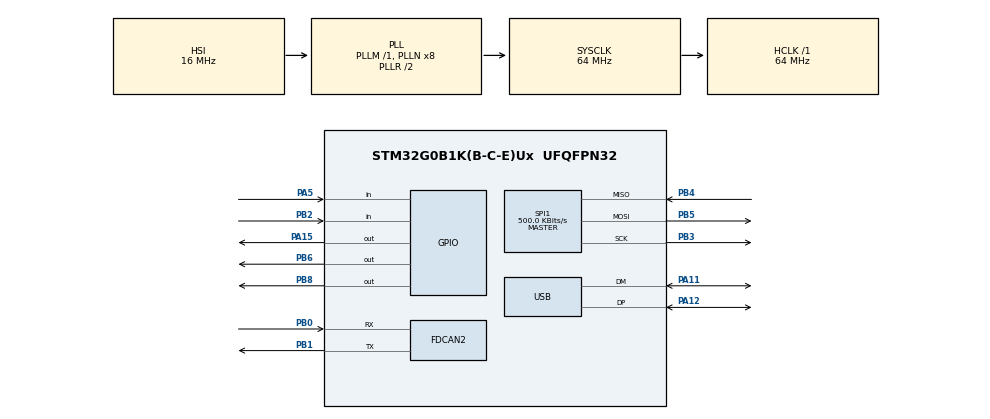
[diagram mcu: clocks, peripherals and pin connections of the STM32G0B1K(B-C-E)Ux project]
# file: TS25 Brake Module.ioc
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FDCAN2.AutoRetransmission=ENABLE
FDCAN2.CalculateBaudRateNominal=500000
FDCAN2.CalculateTimeBitNominal=2000
FDCAN2.CalculateTimeQuantumNominal=125.0
FDCAN2.NominalPrescaler=4
FDCAN2.NominalTimeSeg1=11
FDCAN2.NominalTimeSeg2=4
Mcu.Family=STM32G0
Mcu.Name=STM32G0B1K(B-C-E)Ux
Mcu.Package=UFQFPN32
NVIC.TIM2_IRQn=true\:0\:0\:false\:false\:true\:true\:true\:true
NVIC.USB_UCPD1_2_IRQn=true\:0\:0\:false\:false\:true\:true\:true\:true
PA11\ [PA9].Mode=Device
PA11\ [PA9].Signal=USB_DM
PA12\ [PA10].Mode=Device
PA12\ [PA10].Signal=USB_DP
PA13.Mode=Serial_Wire
PA13.Signal=SYS_SWDIO
PA14-BOOT0.Mode=Serial_Wire
PA14-BOOT0.Signal=SYS_SWCLK
PA15.Signal=GPIO_Output
PA5.Signal=GPIO_Input
PB0.Mode=FDCAN_Activate
PB0.Signal=FDCAN2_RX
PB1.Mode=FDCAN_Activate
PB1.Signal=FDCAN2_TX
PB2.Signal=GPIO_Input
PB3.GPIO_PuPd=GPIO_NOPULL
PB3.GPIO_Speed=GPIO_SPEED_FREQ_HIGH
PB3.Mode=Full_Duplex_Master
PB3.Signal=SPI1_SCK
PB4.GPIO_PuPd=GPIO_PULLDOWN
PB4.Mode=Full_Duplex_Master
PB4.Signal=SPI1_MISO
PB5.GPIO_Speed=GPIO_SPEED_FREQ_HIGH
PB5.Mode=Full_Duplex_Master
PB5.Signal=SPI1_MOSI
PB6.Signal=GPIO_Output
PB8.Signal=GPIO_Output
ProjectManager.HeapSize=0x300
ProjectManager.StackSize=0x500
ProjectManager.TargetToolchain=STM32CubeIDE
RCC.ADCFreq_Value=64000000
RCC.AHBFreq_Value=64000000
RCC.APB1CLKDivider=RCC_HCLK_DIV2
RCC.CortexFreq_Value=64000000
RCC.EXTERNAL_CLOCK_VALUE=48000
RCC.HCLKFreq_Value=64000000
RCC.HSE_VALUE=8000000
RCC.HSI48_VALUE=48000000
RCC.HSI_VALUE=16000000
RCC.LSE_VALUE=32768
RCC.SYSCLKFreq_VALUE=64000000
RCC.SYSCLKSource=RCC_SYSCLKSOURCE_PLLCLK
RCC.USBFreq_Value=48000000
RCC.VCOOutputFreq_Value=128000000
SPI1.BaudRatePrescaler=SPI_BAUDRATEPRESCALER_64
SPI1.CalculateBaudRate=500.0 KBits/s
SPI1.DataSize=SPI_DATASIZE_8BIT
SPI1.Direction=SPI_DIRECTION_2LINES
SPI1.Mode=SPI_MODE_MASTER
SPI1.NSSPMode=SPI_NSS_PULSE_DISABLE
SPI1.VirtualType=VM_MASTER
TIM2.Period=63999
VP_SYS_VS_DBSignals.Mode=DisableDeadBatterySignals
VP_TIM2_VS_ClockSourceINT.Mode=Internal
board=custom

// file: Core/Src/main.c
/* USER CODE BEGIN Header */
/**
  ******************************************************************************
  * @file           : main.c
  * @brief          : Main program body
  ******************************************************************************
  * @attention
  *
  * Copyright (c) 2025 STMicroelectronics.
  * All rights reserved.
  *
  * This software is licensed under terms that can be found in the LICENSE file
  * in the root directory of this software component.
  * If no LICENSE file comes with this software, it is provided AS-IS.
  *
  ******************************************************************************
  */
/* USER CODE END Header */
#include "main.h"

/* USER CODE BEGIN Includes */
#include "brake_module.h"
/* USER CODE END Includes */

FDCAN_HandleTypeDef hfdcan2;

SPI_HandleTypeDef hspi1;

TIM_HandleTypeDef htim2;

PCD_HandleTypeDef hpcd_USB_DRD_FS;

void SystemClock_Config(void);
static void MX_GPIO_Init(void);
static void MX_FDCAN2_Init(void);
static void MX_SPI1_Init(void);
static void MX_TIM2_Init(void);
static void MX_USB_DRD_FS_PCD_Init(void);

int main(void)
{

  /* MCU Configuration--------------------------------------------------------*/

  /* Reset of all peripherals, Initializes the Flash interface and the Systick. */
  HAL_Init();

  /* Configure the system clock */
  SystemClock_Config();

  /* USER CODE BEGIN SysInit */
  HAL_FDCAN_MspInit(&hfdcan2);
  HAL_SPI_MspInit(&hspi1);
  /* USER CODE END SysInit */

  /* Initialize all configured peripherals */
  MX_GPIO_Init();
  MX_FDCAN2_Init();
  MX_SPI1_Init();
  MX_TIM2_Init();
  MX_USB_DRD_FS_PCD_Init();
  /* USER CODE BEGIN 2 */
  canFramesDefine();
  ioAssign();
  initialiseADC();
  HAL_GPIO_WritePin(GPIOB, GPIO_PIN_6, GPIO_PIN_RESET); //LED on (default)

  TickerAttach(&Ticker, &TransmitHeartBeat, BRAKE_MODULE_HEARTBEAT_CAN_RATE);
  TickerAttach(&Ticker, &TransmitDigital, BRAKE_MODULE_DIGITAL_CAN_RATE);
  TickerAttach(&Ticker, &TransmitDigitalRaw, BRAKE_MODULE_ANALOGUE_CAN_RATE);
  TickerAttach(&Ticker, &TransmitAnalogue, BRAKE_MODULE_ANALOGUE_CAN_RATE);

  HAL_FDCAN_Start(&hfdcan2);

  HAL_TIM_Base_Start_IT(&htim2);
  /* USER CODE END 2 */

  /* Infinite loop */
  /* USER CODE BEGIN WHILE */
  while (1)
  {
	UpdateDigital();
	UpdateDigitalRaw();
	UpdateAnalogue();
	//TransmitCAN();
    /* USER CODE END WHILE */

  }
}

void SystemClock_Config(void)
{
  RCC_OscInitTypeDef RCC_OscInitStruct = {0};
  RCC_ClkInitTypeDef RCC_ClkInitStruct = {0};

  /** Configure the main internal regulator output voltage
  */
  HAL_PWREx_ControlVoltageScaling(PWR_REGULATOR_VOLTAGE_SCALE1);

  /** Initializes the RCC Oscillators according to the specified parameters
  * in the RCC_OscInitTypeDef structure.
  */
  RCC_OscInitStruct.OscillatorType = RCC_OSCILLATORTYPE_HSI|RCC_OSCILLATORTYPE_HSI48;
  RCC_OscInitStruct.HSIState = RCC_HSI_ON;
  RCC_OscInitStruct.HSI48State = RCC_HSI48_ON;
  RCC_OscInitStruct.HSIDiv = RCC_HSI_DIV1;
  RCC_OscInitStruct.HSICalibrationValue = RCC_HSICALIBRATION_DEFAULT;
  RCC_OscInitStruct.PLL.PLLState = RCC_PLL_ON;
  RCC_OscInitStruct.PLL.PLLSource = RCC_PLLSOURCE_HSI;
  RCC_OscInitStruct.PLL.PLLM = RCC_PLLM_DIV1;
  RCC_OscInitStruct.PLL.PLLN = 8;
  RCC_OscInitStruct.PLL.PLLP = RCC_PLLP_DIV2;
  RCC_OscInitStruct.PLL.PLLQ = RCC_PLLQ_DIV2;
  RCC_OscInitStruct.PLL.PLLR = RCC_PLLR_DIV2;
  if (HAL_RCC_OscConfig(&RCC_OscInitStruct) != HAL_OK)
  {
    Error_Handler();
  }

  /** Initializes the CPU, AHB and APB buses clocks
  */
  RCC_ClkInitStruct.ClockType = RCC_CLOCKTYPE_HCLK|RCC_CLOCKTYPE_SYSCLK
                              |RCC_CLOCKTYPE_PCLK1;
  RCC_ClkInitStruct.SYSCLKSource = RCC_SYSCLKSOURCE_PLLCLK;
  RCC_ClkInitStruct.AHBCLKDivider = RCC_SYSCLK_DIV1;
  RCC_ClkInitStruct.APB1CLKDivider = RCC_HCLK_DIV2;

  if (HAL_RCC_ClockConfig(&RCC_ClkInitStruct, FLASH_LATENCY_2) != HAL_OK)
  {
    Error_Handler();
  }
}

static void MX_FDCAN2_Init(void)
{

  hfdcan2.Instance = FDCAN2;
  hfdcan2.Init.ClockDivider = FDCAN_CLOCK_DIV1;
  hfdcan2.Init.FrameFormat = FDCAN_FRAME_CLASSIC;
  hfdcan2.Init.Mode = FDCAN_MODE_NORMAL;
  hfdcan2.Init.AutoRetransmission = ENABLE;
  hfdcan2.Init.TransmitPause = DISABLE;
  hfdcan2.Init.ProtocolException = DISABLE;
  hfdcan2.Init.NominalPrescaler = 4;
  hfdcan2.Init.NominalSyncJumpWidth = 1;
  hfdcan2.Init.NominalTimeSeg1 = 11;
  hfdcan2.Init.NominalTimeSeg2 = 4;
  hfdcan2.Init.DataPrescaler = 1;
  hfdcan2.Init.DataSyncJumpWidth = 1;
  hfdcan2.Init.DataTimeSeg1 = 1;
  hfdcan2.Init.DataTimeSeg2 = 1;
  hfdcan2.Init.StdFiltersNbr = 0;
  hfdcan2.Init.ExtFiltersNbr = 0;
  hfdcan2.Init.TxFifoQueueMode = FDCAN_TX_FIFO_OPERATION;
  if (HAL_FDCAN_Init(&hfdcan2) != HAL_OK)
  {
    Error_Handler();
  }

}

static void MX_SPI1_Init(void)
{

  /* SPI1 parameter configuration*/
  hspi1.Instance = SPI1;
  hspi1.Init.Mode = SPI_MODE_MASTER;
  hspi1.Init.Direction = SPI_DIRECTION_2LINES;
  hspi1.Init.DataSize = SPI_DATASIZE_8BIT;
  hspi1.Init.CLKPolarity = SPI_POLARITY_LOW;
  hspi1.Init.CLKPhase = SPI_PHASE_1EDGE;
  hspi1.Init.NSS = SPI_NSS_SOFT;
  hspi1.Init.BaudRatePrescaler = SPI_BAUDRATEPRESCALER_64;
  hspi1.Init.FirstBit = SPI_FIRSTBIT_MSB;
  hspi1.Init.TIMode = SPI_TIMODE_DISABLE;
  hspi1.Init.CRCCalculation = SPI_CRCCALCULATION_DISABLE;
  hspi1.Init.CRCPolynomial = 7;
  hspi1.Init.CRCLength = SPI_CRC_LENGTH_DATASIZE;
  hspi1.Init.NSSPMode = SPI_NSS_PULSE_DISABLE;
  if (HAL_SPI_Init(&hspi1) != HAL_OK)
  {
    Error_Handler();
  }

}

static void MX_TIM2_Init(void)
{

  TIM_ClockConfigTypeDef sClockSourceConfig = {0};
  TIM_MasterConfigTypeDef sMasterConfig = {0};

  htim2.Instance = TIM2;
  htim2.Init.Prescaler = 0;
  htim2.Init.CounterMode = TIM_COUNTERMODE_UP;
  htim2.Init.Period = 63999;
  htim2.Init.ClockDivision = TIM_CLOCKDIVISION_DIV1;
  htim2.Init.AutoReloadPreload = TIM_AUTORELOAD_PRELOAD_DISABLE;
  if (HAL_TIM_Base_Init(&htim2) != HAL_OK)
  {
    Error_Handler();
  }
  sClockSourceConfig.ClockSource = TIM_CLOCKSOURCE_INTERNAL;
  if (HAL_TIM_ConfigClockSource(&htim2, &sClockSourceConfig) != HAL_OK)
  {
    Error_Handler();
  }
  sMasterConfig.MasterOutputTrigger = TIM_TRGO_RESET;
  sMasterConfig.MasterSlaveMode = TIM_MASTERSLAVEMODE_DISABLE;
  if (HAL_TIMEx_MasterConfigSynchronization(&htim2, &sMasterConfig) != HAL_OK)
  {
    Error_Handler();
  }

}

static void MX_USB_DRD_FS_PCD_Init(void)
{

  hpcd_USB_DRD_FS.Instance = USB_DRD_FS;
  hpcd_USB_DRD_FS.Init.dev_endpoints = 8;
  hpcd_USB_DRD_FS.Init.Host_channels = 8;
  hpcd_USB_DRD_FS.Init.speed = PCD_SPEED_FULL;
  hpcd_USB_DRD_FS.Init.phy_itface = PCD_PHY_EMBEDDED;
  hpcd_USB_DRD_FS.Init.Sof_enable = DISABLE;
  hpcd_USB_DRD_FS.Init.low_power_enable = DISABLE;
  hpcd_USB_DRD_FS.Init.lpm_enable = DISABLE;
  hpcd_USB_DRD_FS.Init.battery_charging_enable = DISABLE;
  hpcd_USB_DRD_FS.Init.vbus_sensing_enable = DISABLE;
  hpcd_USB_DRD_FS.Init.bulk_doublebuffer_enable = DISABLE;
  hpcd_USB_DRD_FS.Init.iso_singlebuffer_enable = DISABLE;
  if (HAL_PCD_Init(&hpcd_USB_DRD_FS) != HAL_OK)
  {
    Error_Handler();
  }

}

static void MX_GPIO_Init(void)
{
  GPIO_InitTypeDef GPIO_InitStruct = {0};

  /* GPIO Ports Clock Enable */
  __HAL_RCC_GPIOA_CLK_ENABLE();
  __HAL_RCC_GPIOB_CLK_ENABLE();

  /*Configure GPIO pin Output Level */
  HAL_GPIO_WritePin(GPIOA, GPIO_PIN_15, GPIO_PIN_RESET);

  /*Configure GPIO pin Output Level */
  HAL_GPIO_WritePin(GPIOB, GPIO_PIN_6|GPIO_PIN_8, GPIO_PIN_RESET);

  /*Configure GPIO pin : PA5 */
  GPIO_InitStruct.Pin = GPIO_PIN_5;
  GPIO_InitStruct.Mode = GPIO_MODE_INPUT;
  GPIO_InitStruct.Pull = GPIO_NOPULL;
  HAL_GPIO_Init(GPIOA, &GPIO_InitStruct);

  /*Configure GPIO pin : PB2 */
  GPIO_InitStruct.Pin = GPIO_PIN_2;
  GPIO_InitStruct.Mode = GPIO_MODE_INPUT;
  GPIO_InitStruct.Pull = GPIO_NOPULL;
  HAL_GPIO_Init(GPIOB, &GPIO_InitStruct);

  /*Configure GPIO pin : PA15 */
  GPIO_InitStruct.Pin = GPIO_PIN_15;
  GPIO_InitStruct.Mode = GPIO_MODE_OUTPUT_PP;
  GPIO_InitStruct.Pull = GPIO_NOPULL;
  GPIO_InitStruct.Speed = GPIO_SPEED_FREQ_LOW;
  HAL_GPIO_Init(GPIOA, &GPIO_InitStruct);

  /*Configure GPIO pins : PB6 PB8 */
  GPIO_InitStruct.Pin = GPIO_PIN_6|GPIO_PIN_8;
  GPIO_InitStruct.Mode = GPIO_MODE_OUTPUT_PP;
  GPIO_InitStruct.Pull = GPIO_NOPULL;
  GPIO_InitStruct.Speed = GPIO_SPEED_FREQ_LOW;
  HAL_GPIO_Init(GPIOB, &GPIO_InitStruct);

}

/* USER CODE BEGIN 4 */
void HAL_TIM_PeriodElapsedCallback(TIM_HandleTypeDef* htim)
{
	if(htim->Instance == TIM2)
	{
		TickerHandler(&Ticker);
	}
}
/* USER CODE END 4 */

void Error_Handler(void)
{
  __disable_irq();
  while (1)
  {
  }
}
